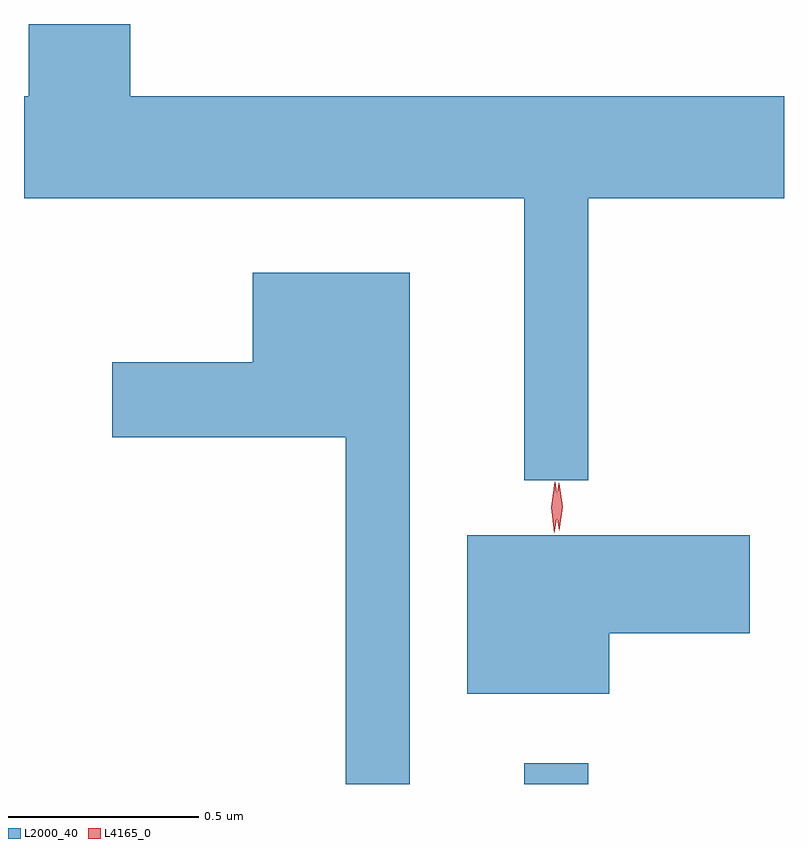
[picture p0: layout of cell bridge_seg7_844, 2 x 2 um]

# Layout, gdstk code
import gdstk
lib = gdstk.Library(unit=1e-6, precision=1e-09)
def R(c, l, rs):  # rectangles x0, y0, x1, y1
    for r in rs: c.add(gdstk.rectangle(r[:2], r[2:], *l))
def P(c, l, *ps):  # polygons
    for p in ps: c.add(gdstk.Polygon(p, *l))
L2000_40 = (2000, 40)
L4165_0 = (4165, 0)

bridge_seg7_844 = lib.new_cell('bridge_seg7_844')
R(bridge_seg7_844, L2000_40, [(236.361,1774.934,236.529,1774.988)])
P(bridge_seg7_844, L2000_40, [(236.529,1776.476),(237.044,1776.476),(237.044,1776.744),(235.324,1776.744),(235.324,1776.934),(235.056,1776.934),(235.056,1776.744),(235.044,1776.744),(235.044,1776.476),(236.361,1776.476),(236.361,1775.733),(236.529,1775.733)],
  [(236.059,1776.279),(235.646,1776.279),(235.646,1776.044),(235.276,1776.044),(235.276,1775.846),(235.891,1775.846),(235.891,1774.934),(236.059,1774.934)],
  [(236.584,1775.331),(236.954,1775.331),(236.954,1775.589),(236.211,1775.589),(236.211,1775.171),(236.584,1775.171)])
P(bridge_seg7_844, L4165_0, [(236.439,1775.594),(236.431,1775.662),(236.441,1775.73),(236.442,1775.73),(236.442,1775.73),(236.451,1775.662),(236.44,1775.594),(236.44,1775.594)],
  [(236.453,1775.6),(236.452,1775.601),(236.442,1775.664),(236.451,1775.726),(236.451,1775.727),(236.452,1775.726),(236.462,1775.664),(236.453,1775.601)])

lib.write_gds('bridge_seg7_844.gds')
